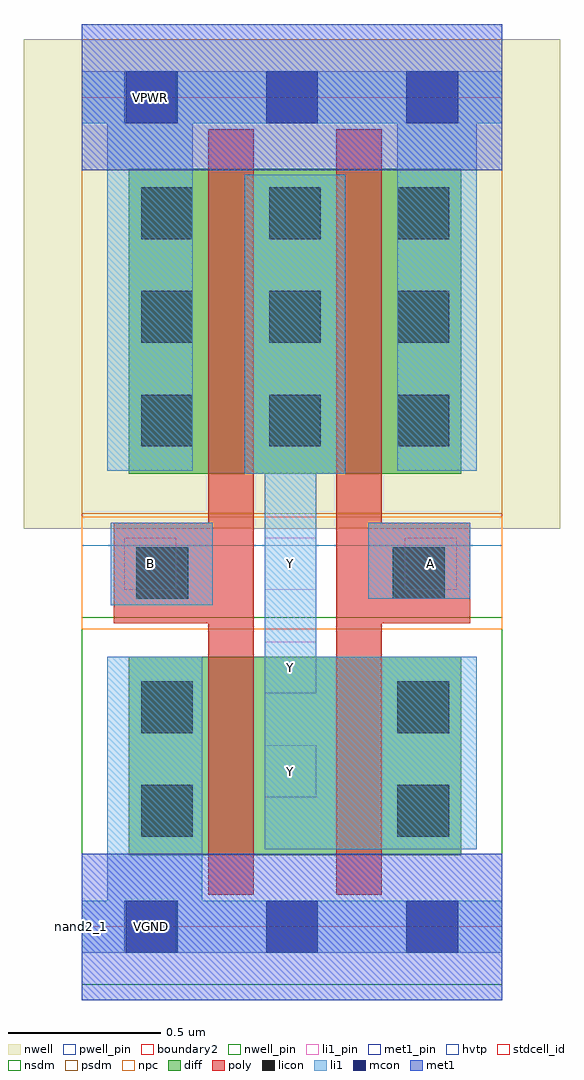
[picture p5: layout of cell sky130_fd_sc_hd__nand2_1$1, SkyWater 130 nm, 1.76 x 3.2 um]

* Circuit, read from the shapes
.subckt sky130_fd_sc_hd__nand2_1$1 A B VGND VNB VPB VPWR Y
XM1 n1 B VGND VNB sky130_fd_pr__nfet_01v8 w=0.65 l=0.15
XM2 Y A n1 VNB sky130_fd_pr__nfet_01v8 w=0.65 l=0.15
XM3 Y B VPWR VPB sky130_fd_pr__pfet_01v8_hvt w=1 l=0.15
XM4 VPWR A Y VPB sky130_fd_pr__pfet_01v8_hvt w=1 l=0.15
.ends

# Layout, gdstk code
import gdstk
lib = gdstk.Library(unit=1e-6, precision=1e-09)
def R(c, l, rs):  # rectangles x0, y0, x1, y1
    for r in rs: c.add(gdstk.rectangle(r[:2], r[2:], *l))
def A(c, l, x, y, w, h, nx, ny, dx, dy):  # array of equal rectangles
    R(c, l, [(x+i*dx, y+j*dy, x+i*dx+w, y+j*dy+h) for i in range(nx) for j in range(ny)])
def P(c, l, *ps):  # polygons
    for p in ps: c.add(gdstk.Polygon(p, *l))
nwell_pin = (64, 16)
nwell = (64, 20)
diff = (65, 20)
poly = (66, 20)
licon = (66, 44)
li1_pin = (67, 16)
li1 = (67, 20)
mcon = (67, 44)
met1_pin = (68, 16)
met1 = (68, 20)
hvtp = (78, 44)
stdcell_id = (81, 4)
nsdm = (93, 44)
psdm = (94, 20)
npc = (95, 20)
pwell_pin = (122, 16)
boundary2 = (236, 0)

sky130_fd_sc_hd__nand2_1 = lib.new_cell('sky130_fd_sc_hd__nand2_1$1')
R(sky130_fd_sc_hd__nand2_1, nwell_pin, [(0.14,2.635,0.31,2.805)])
R(sky130_fd_sc_hd__nand2_1, nwell, [(-0.19,1.305,1.57,2.91)])
R(sky130_fd_sc_hd__nand2_1, diff, [(0.155,0.235,1.245,0.885), (0.155,1.485,1.245,2.485)])
P(sky130_fd_sc_hd__nand2_1, poly, [(0.415,0.105),(0.415,0.995),(0.105,0.995),(0.105,1.325),(0.415,1.325),(0.415,2.615),(0.565,2.615),(0.565,0.105)],
  [(0.835,0.105),(0.835,2.615),(0.985,2.615),(0.985,1.325),(1.275,1.325),(1.275,0.995),(0.985,0.995),(0.985,0.105)])
A(sky130_fd_sc_hd__nand2_1, licon, 0.195, 1.575, 0.17, 0.17, 3, 3, 0.42, 0.34)
R(sky130_fd_sc_hd__nand2_1, licon, [(0.195,0.295,0.365,0.465), (1.035,0.295,1.205,0.465), (0.195,0.635,0.365,0.805), (1.035,0.635,1.205,0.805), (0.18,1.075,0.35,1.245), (1.02,1.075,1.19,1.245)])
A(sky130_fd_sc_hd__nand2_1, li1_pin, 0.14, 1.105, 0.17, 0.17, 3, 1, 0.46, 0)
R(sky130_fd_sc_hd__nand2_1, li1_pin, [(0.6,0.425,0.77,0.595), (0.6,0.765,0.77,0.935)])
R(sky130_fd_sc_hd__nand2_1, li1, [(0.095,1.055,0.43,1.325), (0.94,1.075,1.275,1.325)])
P(sky130_fd_sc_hd__nand2_1, li1, [(0.6,0.255),(0.6,1.485),(0.535,1.485),(0.535,2.465),(0.865,2.465),(0.865,1.485),(0.77,1.485),(0.77,0.885),(1.295,0.885),(1.295,0.255)],
  [(0.085,1.495),(0.085,2.635),(0,2.635),(0,2.805),(1.38,2.805),(1.38,2.635),(1.295,2.635),(1.295,1.495),(1.035,1.495),(1.035,2.635),(0.365,2.635),(0.365,1.495)],
  [(0,-0.085),(0,0.085),(0.085,0.085),(0.085,0.885),(0.395,0.885),(0.395,0.085),(1.38,0.085),(1.38,-0.085)])
A(sky130_fd_sc_hd__nand2_1, mcon, 0.145, -0.085, 0.17, 0.17, 3, 2, 0.46, 2.72)
R(sky130_fd_sc_hd__nand2_1, met1_pin, [(0.14,-0.085,0.31,0.085), (0.14,2.635,0.31,2.805)])
R(sky130_fd_sc_hd__nand2_1, hvtp, [(0,1.25,1.38,2.72)])
R(sky130_fd_sc_hd__nand2_1, stdcell_id, [(0,0,1.38,2.72)])
R(sky130_fd_sc_hd__nand2_1, nsdm, [(0,-0.19,1.38,1.015)])
R(sky130_fd_sc_hd__nand2_1, psdm, [(0,1.355,1.38,2.91)])
R(sky130_fd_sc_hd__nand2_1, npc, [(0,0.975,1.38,1.345)])
R(sky130_fd_sc_hd__nand2_1, pwell_pin, [(0.14,-0.085,0.31,0.085)])
R(sky130_fd_sc_hd__nand2_1, boundary2, [(0,0,1.38,2.72)])
sky130_fd_sc_hd__nand2_1.add(gdstk.FlexPath([(0,0),(1.38,0)], 0.48, ends="flush", simple_path=True, layer=68, datatype=20))  # met1
sky130_fd_sc_hd__nand2_1.add(gdstk.FlexPath([(0,2.72),(1.38,2.72)], 0.48, ends="flush", simple_path=True, layer=68, datatype=20))  # met1
sky130_fd_sc_hd__nand2_1.add(gdstk.Label('VPWR', (0.225,2.72), layer=68, texttype=5))
sky130_fd_sc_hd__nand2_1.add(gdstk.Label('VGND', (0.23,0), layer=68, texttype=5))
sky130_fd_sc_hd__nand2_1.add(gdstk.Label('nand2_1', (0,0), layer=83, texttype=44))
sky130_fd_sc_hd__nand2_1.add(gdstk.Label('A', (1.145,1.19), layer=67, texttype=5))
sky130_fd_sc_hd__nand2_1.add(gdstk.Label('B', (0.225,1.19), layer=67, texttype=5))
sky130_fd_sc_hd__nand2_1.add(gdstk.Label('Y', (0.685,0.51), layer=67, texttype=5))
sky130_fd_sc_hd__nand2_1.add(gdstk.Label('Y', (0.685,0.85), layer=67, texttype=5))
sky130_fd_sc_hd__nand2_1.add(gdstk.Label('Y', (0.685,1.19), layer=67, texttype=5))
sky130_fd_sc_hd__nand2_1.add(gdstk.Label('VNB', (0.225,0), layer=64, texttype=59))
sky130_fd_sc_hd__nand2_1.add(gdstk.Label('VPB', (0.225,2.72), layer=64, texttype=5))

lib.write_gds('sky130_fd_sc_hd__nand2_1_1.gds')
